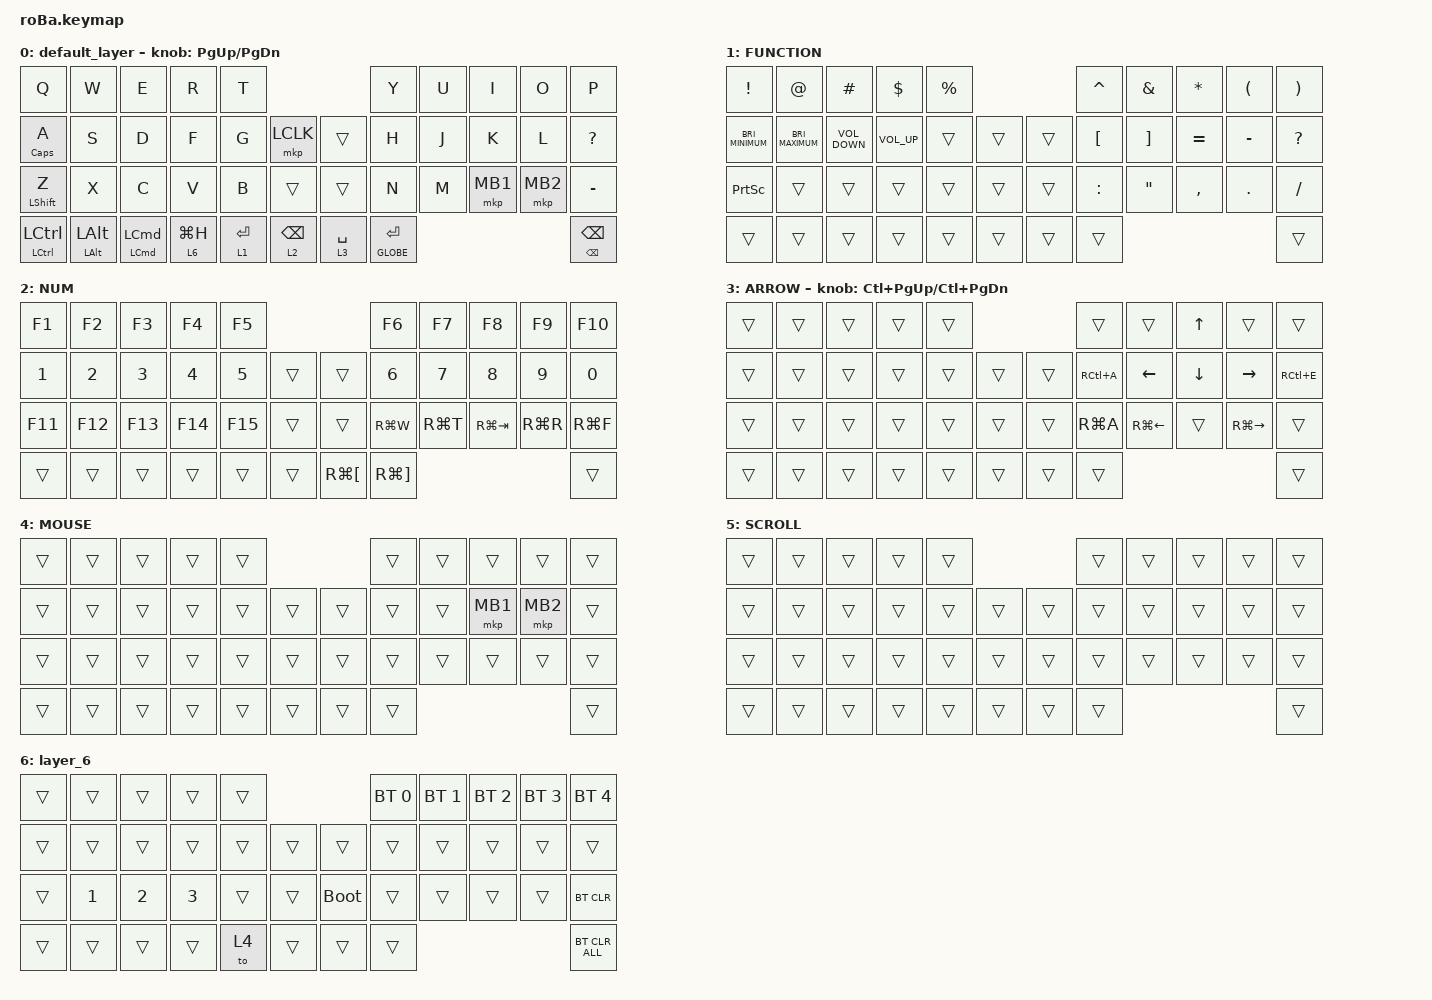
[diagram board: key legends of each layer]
#include <behaviors.dtsi>
#include <dt-bindings/zmk/bt.h>
#include <dt-bindings/zmk/keys.h>
#include <dt-bindings/zmk/pointing.h>

#define MOUSE 4
#define SCROLL 5
#define NUM 6

&mt {
    flavor = "balanced";
    quick-tap-ms = <0>;
};

/ {
    combos {
        compatible = "zmk,combos";

        tab {
            bindings = <&kp TAB>;
            key-positions = <11 12>;
        };

        shift_tab {
            bindings = <&kp LS(TAB)>;
            key-positions = <12 13>;
        };

        muhennkann {
            bindings = <&to_layer_0 INT_MUHENKAN>;
            key-positions = <11 10>;
        };

        double_quotation {
            bindings = <&kp DOUBLE_QUOTES>;
            key-positions = <20 21>;
        };

        eq {
            bindings = <&kp EQUAL>;
            key-positions = <24 25>;
        };

        scroll {
            bindings = <&mo 5>;
            key-positions = <31 32>;
        };
    };

    macros {
        to_layer_0: to_layer_0 {
            compatible = "zmk,behavior-macro-one-param";
            #binding-cells = <1>;
            bindings = <&to 0 &macro_param_1to1 &kp MACRO_PLACEHOLDER>;
            label = "TO_LAYER_0";
        };
    };

    behaviors {
        lt_to_layer_0: lt_to_layer_0 {
            compatible = "zmk,behavior-hold-tap";
            label = "LAYER_TAP_TO_0";
            bindings = <&mo>, <&to_layer_0>;

            #binding-cells = <2>;
            tapping-term-ms = <200>;
        };
    };

    keymap {
        compatible = "zmk,keymap";

        default_layer {
            bindings = <
&kp Q                          &kp W                  &kp E                          &kp R                   &kp T                                                                &kp Y            &kp U  &kp I     &kp O     &kp P
&mt CAPS A                     &kp S                  &kp D                          &kp F                   &kp G        &mkp LCLK                       &trans                  &kp H            &kp J  &kp K     &kp L     &kp QUESTION
&mt LEFT_SHIFT Z               &kp X                  &kp C                          &kp V                   &kp B        &trans                          &trans                  &kp N            &kp M  &mkp MB1  &mkp MB2  &kp MINUS
&mt LEFT_CONTROL LEFT_CONTROL  &mt LEFT_ALT LEFT_ALT  &mt LEFT_COMMAND LEFT_COMMAND  &lt_to_layer_0 6 LG(H)  &lt 1 ENTER  &lt_to_layer_0 2 BACKSPACE      &lt_to_layer_0 3 SPACE  &mt GLOBE ENTER                             &mt BACKSPACE BACKSPACE
            >;

            sensor-bindings = <&inc_dec_kp PG_UP PAGE_DOWN>;
        };

        FUNCTION {
            bindings = <
&kp EXCLAMATION           &kp AT_SIGN               &kp HASH           &kp DLLR         &kp PERCENT                      &kp CARET         &kp AMPERSAND      &kp ASTRK  &kp LPAR   &kp RIGHT_PARENTHESIS
&kp C_BRIGHTNESS_MINIMUM  &kp C_BRIGHTNESS_MAXIMUM  &kp C_VOLUME_DOWN  &kp C_VOLUME_UP  &trans       &trans      &trans  &kp LEFT_BRACKET  &kp RIGHT_BRACKET  &kp EQUAL  &kp MINUS  &kp QUESTION
&kp PRINTSCREEN           &trans                    &trans             &trans           &trans       &trans      &trans  &kp COLON         &kp DOUBLE_QUOTES  &kp COMMA  &kp DOT    &kp SLASH
&trans                    &trans                    &trans             &trans           &trans       &trans      &trans  &trans                                                     &trans
            >;
        };

        NUM {
            bindings = <
&kp F1        &kp F2        &kp F3        &kp F4        &kp F5                                          &kp F6        &kp F7        &kp F8        &kp F9        &kp F10
&kp NUMBER_1  &kp NUMBER_2  &kp NUMBER_3  &kp NUMBER_4  &kp NUMBER_5  &trans      &trans                &kp NUMBER_6  &kp NUMBER_7  &kp NUMBER_8  &kp NUMBER_9  &kp NUMBER_0
&kp F11       &kp F12       &kp F13       &kp F14       &kp F15       &trans      &trans                &kp RG(W)     &kp RG(T)     &kp RG(TAB)   &kp RG(R)     &kp RG(F)
&trans        &trans        &trans        &trans        &trans        &trans      &kp RG(LEFT_BRACKET)  &kp RG(RBKT)                                            &trans
            >;
        };

        ARROW {
            bindings = <
&trans  &trans  &trans  &trans  &trans                      &trans     &trans              &kp UP_ARROW    &trans               &trans
&trans  &trans  &trans  &trans  &trans  &trans      &trans  &kp RC(A)  &kp LEFT_ARROW      &kp DOWN_ARROW  &kp RIGHT_ARROW      &kp RC(E)
&trans  &trans  &trans  &trans  &trans  &trans      &trans  &kp RG(A)  &kp RG(LEFT_ARROW)  &trans          &kp RG(RIGHT_ARROW)  &trans
&trans  &trans  &trans  &trans  &trans  &trans      &trans  &trans                                                              &trans
            >;

            sensor-bindings = <&inc_dec_kp LC(PAGE_UP) LC(PAGE_DOWN)>;
        };

        MOUSE {
            bindings = <
&trans  &trans  &trans  &trans  &trans                      &trans  &trans  &trans    &trans    &trans
&trans  &trans  &trans  &trans  &trans  &trans      &trans  &trans  &trans  &mkp MB1  &mkp MB2  &trans
&trans  &trans  &trans  &trans  &trans  &trans      &trans  &trans  &trans  &trans    &trans    &trans
&trans  &trans  &trans  &trans  &trans  &trans      &trans  &trans                              &trans
            >;
        };

        SCROLL {
            bindings = <
&trans  &trans  &trans  &trans  &trans                      &trans  &trans  &trans  &trans  &trans
&trans  &trans  &trans  &trans  &trans  &trans      &trans  &trans  &trans  &trans  &trans  &trans
&trans  &trans  &trans  &trans  &trans  &trans      &trans  &trans  &trans  &trans  &trans  &trans
&trans  &trans  &trans  &trans  &trans  &trans      &trans  &trans                          &trans
            >;
        };

        layer_6 {
            bindings = <
&trans  &trans        &trans        &trans        &trans                           &bt BT_SEL 0  &bt BT_SEL 1  &bt BT_SEL 2  &bt BT_SEL 3  &bt BT_SEL 4
&trans  &trans        &trans        &trans        &trans  &trans      &trans       &trans        &trans        &trans        &trans        &trans
&trans  &kp NUMBER_1  &kp NUMBER_2  &kp NUMBER_3  &trans  &trans      &bootloader  &trans        &trans        &trans        &trans        &bt BT_CLR
&trans  &trans        &trans        &trans        &to 4   &trans      &trans       &trans                                                  &bt BT_CLR_ALL
            >;
        };
    };
};
